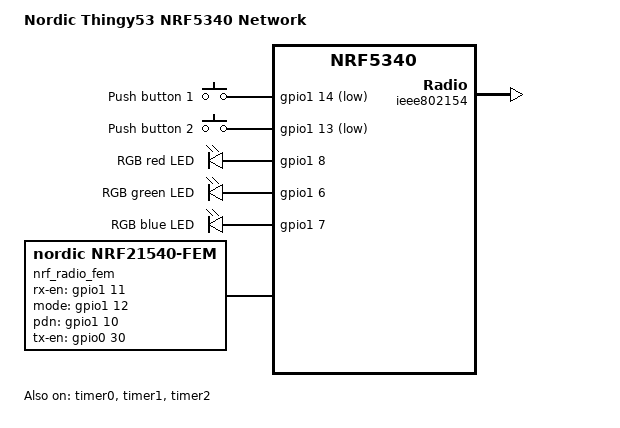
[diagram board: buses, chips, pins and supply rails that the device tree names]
/*
 * Copyright (c) 2021 Nordic Semiconductor ASA
 *
 * SPDX-License-Identifier: Apache-2.0
 */

/dts-v1/;
#include <nordic/nrf5340_cpunet_qkaa.dtsi>
#include "thingy53_nrf5340_cpunet-pinctrl.dtsi"

/ {
	model = "Nordic Thingy53 NRF5340 Network";
	compatible = "nordic,thingy53-nrf5340-cpunet";

	chosen {
		zephyr,console = &uart0;
		zephyr,shell-uart = &uart0;
		zephyr,uart-mcumgr = &uart0;
		zephyr,bt-mon-uart = &uart0;
		zephyr,bt-c2h-uart = &uart0;
		zephyr,bt-hci-rpmsg-ipc = &ipc0;
		nordic,802154-spinel-ipc = &ipc0;
		zephyr,sram = &sram1;
		zephyr,flash = &flash1;
		zephyr,code-partition = &slot0_partition;
		zephyr,ieee802154 = &ieee802154;
	};

	buttons {
		compatible = "gpio-keys";
		button0: button_0 {
			gpios = <&gpio1 14 (GPIO_PULL_UP | GPIO_ACTIVE_LOW)>;
			label = "Push button 1";
		};
		button1: button_1 {
			gpios = <&gpio1 13 (GPIO_PULL_UP | GPIO_ACTIVE_LOW)>;
			label = "Push button 2";
		};
	};

	leds {
		compatible = "gpio-leds";
		red_led: led_1 {
			gpios = <&gpio1 8 (GPIO_PULL_DOWN | GPIO_ACTIVE_HIGH)>;
			label = "RGB red LED";
		};
		green_led: led_2 {
			gpios = <&gpio1 6 (GPIO_PULL_DOWN | GPIO_ACTIVE_HIGH)>;
			label = "RGB green LED";
		};
		blue_led: led_3 {
			gpios = <&gpio1 7 (GPIO_PULL_DOWN | GPIO_ACTIVE_HIGH)>;
			label = "RGB blue LED";
		};
	};

	nrf_radio_fem: fem {
		compatible = "nordic,nrf21540-fem";
		rx-en-gpios = <&gpio1 11 GPIO_ACTIVE_HIGH>;
		mode-gpios  = <&gpio1 12 GPIO_ACTIVE_HIGH>;
		pdn-gpios   = <&gpio1 10 GPIO_ACTIVE_HIGH>;
		tx-en-gpios = <&gpio0 30 GPIO_ACTIVE_HIGH>;
		supply-voltage-mv = <3000>;
	};

	aliases {
		sw0 = &button0;
		sw1 = &button1;
		led0 = &red_led;
		led1 = &green_led;
		led2 = &blue_led;
		watchdog0 = &wdt;
	};
};

&gpiote {
	status = "okay";
};

&gpio0 {
	status = "okay";
};

&gpio1 {
	status = "okay";
};

&uart0 {
	compatible = "nordic,nrf-uarte";
	status = "disabled";
	current-speed = <115200>;
	pinctrl-0 = <&uart0_default>;
	pinctrl-1 = <&uart0_sleep>;
	pinctrl-names = "default", "sleep";
};

&timer0 {
	status = "okay";
};

&timer1 {
	status = "okay";
};

&timer2 {
	status = "okay";
};

&flash1 {

	partitions {
		compatible = "fixed-partitions";
		#address-cells = <1>;
		#size-cells = <1>;

		boot_partition: partition@0 {
			label = "mcuboot";
			reg = <0x00000000 0xc000>;
		};
		slot0_partition: partition@c000 {
			label = "image-0";
			reg = <0x0000C000 0x12000>;
		};
		slot1_partition: partition@1e000 {
			label = "image-1";
			reg = <0x0001E000 0x12000>;
		};
		scratch_partition: partition@30000 {
			label = "image-scratch";
			reg = <0x00030000 0xa000>;
		};
		storage_partition: partition@3a000 {
			label = "storage";
			reg = <0x0003a000 0x6000>;
		};
	};
};

&ieee802154 {
	status = "okay";
};

/* Include shared RAM configuration file */
#include "thingy53_nrf5340_shared_sram_planning_conf.dts"
